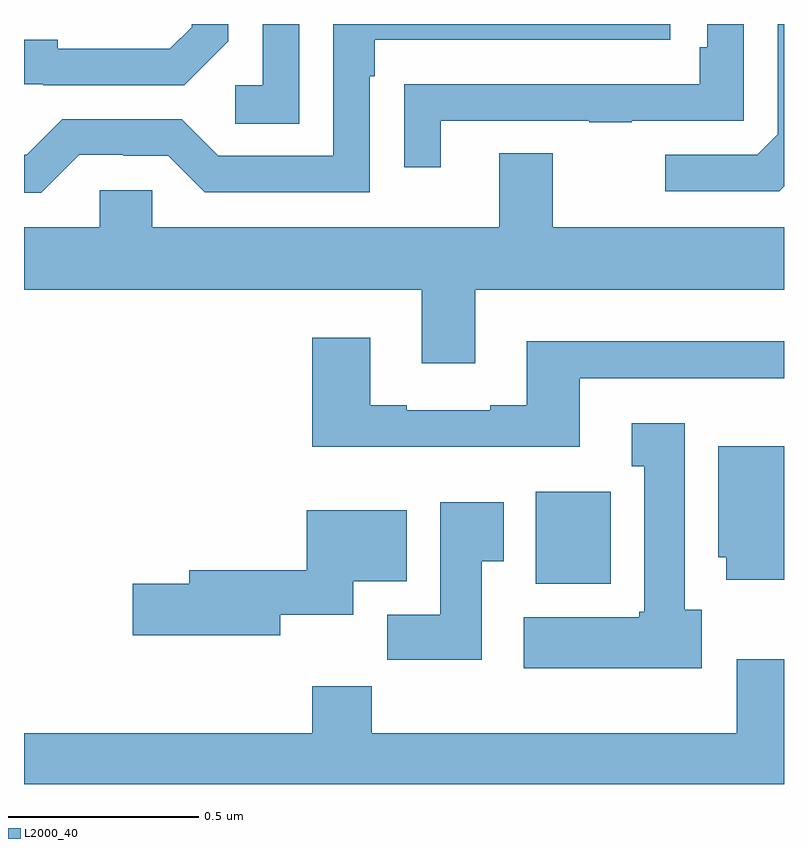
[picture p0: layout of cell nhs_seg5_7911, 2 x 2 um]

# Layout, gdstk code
import gdstk
lib = gdstk.Library(unit=1e-6, precision=1e-09)
def R(c, l, rs):  # rectangles x0, y0, x1, y1
    for r in rs: c.add(gdstk.rectangle(r[:2], r[2:], *l))
def P(c, l, *ps):  # polygons
    for p in ps: c.add(gdstk.Polygon(p, *l))
L2000_40 = (2000, 40)

nhs_seg5_7911 = lib.new_cell('nhs_seg5_7911')
R(nhs_seg5_7911, L2000_40, [(216.347,849.326,216.544,849.568)])
P(nhs_seg5_7911, L2000_40, [(215.724,850.799),(215.628,850.799),(215.628,850.638),(215.556,850.638),(215.556,850.537),(215.724,850.537)],
  [(216.097,850.545),(216.487,850.545),(216.487,850.54),(216.599,850.54),(216.599,850.545),(216.894,850.545),(216.894,850.799),(216.798,850.799),(216.798,850.738),(216.778,850.738),(216.778,850.641),(216.103,850.641),(216.103,850.64),(216.001,850.64),(216.001,850.422),(216.097,850.422)],
  [(217,850.372),(217,850.799),(216.984,850.799),(216.984,850.509),(216.93,850.455),(216.687,850.455),(216.687,850.359),(216.987,850.359)],
  [(215.145,850.455),(215.261,850.455),(215.261,850.452),(215.379,850.452),(215.475,850.356),(215.91,850.356),(215.91,850.661),(215.923,850.661),(215.923,850.758),(216.7,850.758),(216.7,850.799),(215.814,850.799),(215.814,850.452),(215.511,850.452),(215.415,850.548),(215.1,850.548),(215.007,850.455),(215,850.455),(215,850.355),(215.045,850.355)],
  [(215.538,850.754),(215.538,850.799),(215.441,850.799),(215.441,850.791),(215.384,850.734),(215.089,850.734),(215.089,850.757),(215,850.757),(215,850.641),(215.05,850.641),(215.05,850.638),(215.422,850.638)],
  [(216.187,850.1),(217,850.1),(217,850.264),(216.391,850.264),(216.391,850.459),(216.251,850.459),(216.251,850.264),(215.337,850.264),(215.337,850.362),(215.199,850.362),(215.199,850.264),(215,850.264),(215,850.1),(216.047,850.1),(216.047,849.906),(216.187,849.906)],
  [(216.463,849.867),(217,849.867),(217,849.964),(216.323,849.964),(216.323,849.796),(216.227,849.796),(216.227,849.783),(216.007,849.783),(216.007,849.796),(215.911,849.796),(215.911,849.973),(215.759,849.973),(215.759,849.686),(216.463,849.686)],
  [(216.784,849.258),(216.739,849.258),(216.739,849.748),(216.599,849.748),(216.599,849.635),(216.632,849.635),(216.632,849.252),(216.619,849.252),(216.619,849.238),(216.315,849.238),(216.315,849.104),(216.784,849.104)],
  [(217,849.688),(216.827,849.688),(216.827,849.396),(216.848,849.396),(216.848,849.336),(217,849.336)],
  [(216.205,849.385),(216.262,849.385),(216.262,849.541),(216.095,849.541),(216.095,849.244),(215.956,849.244),(215.956,849.126),(216.205,849.126)],
  [(215.674,849.245),(215.866,849.245),(215.866,849.332),(216.007,849.332),(216.007,849.52),(215.744,849.52),(215.744,849.362),(215.435,849.362),(215.435,849.326),(215.286,849.326),(215.286,849.191),(215.674,849.191)],
  [(217,849.127),(216.875,849.127),(216.875,848.932),(215.915,848.932),(215.915,849.056),(215.759,849.056),(215.759,848.932),(215,848.932),(215,848.799),(217,848.799)])

lib.write_gds('nhs_seg5_7911.gds')
